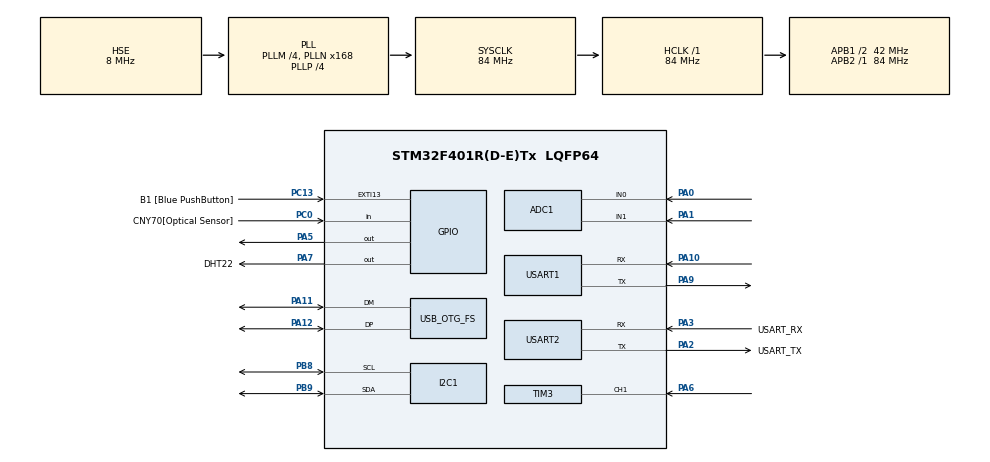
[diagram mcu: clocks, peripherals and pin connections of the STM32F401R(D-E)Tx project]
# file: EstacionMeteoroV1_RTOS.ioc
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ADC1.Channel-0\#ChannelRegularConversion=ADC_CHANNEL_0
ADC1.Channel-1\#ChannelRegularConversion=ADC_CHANNEL_1
ADC1.ClockPrescaler=ADC_CLOCK_SYNC_PCLK_DIV8
ADC1.ContinuousConvMode=ENABLE
ADC1.DMAContinuousRequests=ENABLE
ADC1.EOCSelection=ADC_EOC_SEQ_CONV
ADC1.NbrOfConversion=2
ADC1.NbrOfConversionFlag=1
ADC1.Rank-0\#ChannelRegularConversion=1
ADC1.Rank-1\#ChannelRegularConversion=2
ADC1.SamplingTime-0\#ChannelRegularConversion=ADC_SAMPLETIME_480CYCLES
ADC1.SamplingTime-1\#ChannelRegularConversion=ADC_SAMPLETIME_480CYCLES
ADC1.ScanConvMode=ENABLE
ADC1.master=1
Dma.ADC1.0.Direction=DMA_PERIPH_TO_MEMORY
Dma.ADC1.0.FIFOMode=DMA_FIFOMODE_DISABLE
Dma.ADC1.0.Instance=DMA2_Stream0
Dma.ADC1.0.MemDataAlignment=DMA_MDATAALIGN_WORD
Dma.ADC1.0.MemInc=DMA_MINC_ENABLE
Dma.ADC1.0.Mode=DMA_CIRCULAR
Dma.ADC1.0.PeriphDataAlignment=DMA_PDATAALIGN_WORD
Dma.ADC1.0.PeriphInc=DMA_PINC_DISABLE
Dma.ADC1.0.Priority=DMA_PRIORITY_LOW
Dma.I2C1_RX.1.Direction=DMA_PERIPH_TO_MEMORY
Dma.I2C1_RX.1.FIFOMode=DMA_FIFOMODE_DISABLE
Dma.I2C1_RX.1.Instance=DMA1_Stream0
Dma.I2C1_RX.1.MemDataAlignment=DMA_MDATAALIGN_BYTE
Dma.I2C1_RX.1.MemInc=DMA_MINC_ENABLE
Dma.I2C1_RX.1.Mode=DMA_NORMAL
Dma.I2C1_RX.1.PeriphDataAlignment=DMA_PDATAALIGN_BYTE
Dma.I2C1_RX.1.PeriphInc=DMA_PINC_DISABLE
Dma.I2C1_RX.1.Priority=DMA_PRIORITY_LOW
Dma.I2C1_TX.2.Direction=DMA_MEMORY_TO_PERIPH
Dma.I2C1_TX.2.FIFOMode=DMA_FIFOMODE_DISABLE
Dma.I2C1_TX.2.Instance=DMA1_Stream6
Dma.I2C1_TX.2.MemDataAlignment=DMA_MDATAALIGN_BYTE
Dma.I2C1_TX.2.MemInc=DMA_MINC_ENABLE
Dma.I2C1_TX.2.Mode=DMA_NORMAL
Dma.I2C1_TX.2.PeriphDataAlignment=DMA_PDATAALIGN_BYTE
Dma.I2C1_TX.2.PeriphInc=DMA_PINC_DISABLE
Dma.I2C1_TX.2.Priority=DMA_PRIORITY_LOW
Dma.Request0=ADC1
Dma.Request1=I2C1_RX
Dma.Request2=I2C1_TX
FREERTOS.Tasks01=defaultTask,0,128,StartDefaultTask,Default,NULL,Dynamic,NULL,NULL
FREERTOS.configUSE_NEWLIB_REENTRANT=1
I2C1.I2C_Mode=I2C_Fast
Mcu.Family=STM32F4
Mcu.Name=STM32F401R(D-E)Tx
Mcu.Package=LQFP64
NVIC.DMA1_Stream0_IRQn=true\:5\:0\:false\:false\:true\:true\:false\:true\:true
NVIC.DMA1_Stream6_IRQn=true\:5\:0\:false\:false\:true\:true\:false\:true\:true
NVIC.DMA2_Stream0_IRQn=true\:5\:0\:false\:false\:true\:true\:false\:true\:true
NVIC.I2C1_EV_IRQn=true\:5\:0\:false\:false\:true\:true\:true\:true\:true
NVIC.OTG_FS_IRQn=true\:5\:0\:false\:false\:true\:true\:false\:true\:true
NVIC.PriorityGroup=NVIC_PRIORITYGROUP_4
NVIC.TIM1_UP_TIM10_IRQn=true\:15\:0\:false\:false\:true\:false\:false\:true\:true
NVIC.TIM2_IRQn=true\:5\:0\:false\:false\:true\:true\:true\:true\:true
NVIC.TIM3_IRQn=true\:5\:0\:false\:false\:true\:true\:true\:true\:true
NVIC.TIM4_IRQn=true\:5\:0\:false\:false\:true\:true\:true\:true\:true
NVIC.TimeBase=TIM1_UP_TIM10_IRQn
NVIC.TimeBaseIP=TIM1
NVIC.USART1_IRQn=true\:5\:0\:false\:false\:true\:true\:true\:true\:true
PA0-WKUP.Signal=ADCx_IN0
PA1.Signal=ADCx_IN1
PA10.Mode=Asynchronous
PA10.Signal=USART1_RX
PA11.Mode=Device_Only
PA11.Signal=USB_OTG_FS_DM
PA12.Mode=Device_Only
PA12.Signal=USB_OTG_FS_DP
PA13.GPIO_Label=TMS
PA13.Mode=Serial_Wire
PA13.Signal=SYS_JTMS-SWDIO
PA14.GPIO_Label=TCK
PA14.Mode=Serial_Wire
PA14.Signal=SYS_JTCK-SWCLK
PA2.GPIO_Label=USART_TX
PA2.GPIO_Mode=GPIO_MODE_AF_PP
PA2.GPIO_PuPd=GPIO_NOPULL
PA2.GPIO_Speed=GPIO_SPEED_FREQ_LOW
PA2.Mode=Asynchronous
PA2.Signal=USART2_TX
PA3.GPIO_Label=USART_RX
PA3.GPIO_Mode=GPIO_MODE_AF_PP
PA3.GPIO_PuPd=GPIO_NOPULL
PA3.GPIO_Speed=GPIO_SPEED_FREQ_LOW
PA3.Mode=Asynchronous
PA3.Signal=USART2_RX
PA5.Signal=GPIO_Output
PA6.Signal=S_TIM3_CH1
PA7.GPIO_Label=DHT22
PA7.Signal=GPIO_Output
PA9.Mode=Asynchronous
PA9.Signal=USART1_TX
PB3.GPIO_Label=SWO
PB3.Signal=SYS_JTDO-SWO
PB8.Mode=I2C
PB8.Signal=I2C1_SCL
PB9.Mode=I2C
PB9.Signal=I2C1_SDA
PC0.GPIO_Label=CNY70[Optical Sensor]
PC0.GPIO_PuPd=GPIO_PULLDOWN
PC0.Signal=GPIO_Input
PC13-ANTI_TAMP.GPIO_Label=B1 [Blue PushButton]
PC13-ANTI_TAMP.GPIO_ModeDefaultEXTI=GPIO_MODE_IT_FALLING
PC13-ANTI_TAMP.GPIO_PuPd=GPIO_NOPULL
PC13-ANTI_TAMP.Signal=GPXTI13
PC14-OSC32_IN.Mode=LSE-External-Oscillator
PC14-OSC32_IN.Signal=RCC_OSC32_IN
PC15-OSC32_OUT.Mode=LSE-External-Oscillator
PC15-OSC32_OUT.Signal=RCC_OSC32_OUT
PH0\ -\ OSC_IN.Mode=HSE-External-Clock-Source
PH0\ -\ OSC_IN.Signal=RCC_OSC_IN
PH1\ -\ OSC_OUT.Mode=HSE-External-Clock-Source
PH1\ -\ OSC_OUT.Signal=RCC_OSC_OUT
ProjectManager.HeapSize=0x200
ProjectManager.StackSize=0x400
ProjectManager.TargetToolchain=STM32CubeIDE
RCC.48MHZClocksFreq_Value=48000000
RCC.AHBFreq_Value=84000000
RCC.APB1CLKDivider=RCC_HCLK_DIV2
RCC.APB1Freq_Value=42000000
RCC.APB1TimFreq_Value=84000000
RCC.APB2Freq_Value=84000000
RCC.APB2TimFreq_Value=84000000
RCC.CortexFreq_Value=84000000
RCC.HCLKFreq_Value=84000000
RCC.HSE_VALUE=8000000
RCC.HSI_VALUE=16000000
RCC.PLLM=4
RCC.PLLN=168
RCC.PLLP=RCC_PLLP_DIV4
RCC.PLLQ=7
RCC.SYSCLKFreq_VALUE=84000000
RCC.SYSCLKSource=RCC_SYSCLKSOURCE_PLLCLK
RCC.VCOOutputFreq_Value=336000000
RTC.Alarm=RTC_ALARM_A
SH.ADCx_IN0.0=ADC1_IN0,IN0
SH.ADCx_IN1.0=ADC1_IN1,IN1
SH.S_TIM3_CH1.0=TIM3_CH1,Input_Capture1_from_TI1
TIM2.AutoReloadPreload=TIM_AUTORELOAD_PRELOAD_ENABLE
TIM2.Period=2
TIM2.Prescaler=42000-1
TIM3.AutoReloadPreload=TIM_AUTORELOAD_PRELOAD_ENABLE
TIM3.Channel-Input_Capture1_from_TI1=TIM_CHANNEL_1
TIM3.ICFilter_CH1=15
TIM3.ICPolarity_CH1=TIM_INPUTCHANNELPOLARITY_BOTHEDGE
TIM3.Period=200
TIM3.Prescaler=84-1
TIM4.Period=20
TIM4.Prescaler=83
USART1.VirtualMode=VM_ASYNC
USART2.VirtualMode=VM_ASYNC
USB_DEVICE.CLASS_NAME_FS=CUSTOM_HID
USB_DEVICE.VirtualMode-CUSTOM_HID_FS=CustomHid
USB_DEVICE.VirtualModeFS=Custom_Hid_FS
USB_OTG_FS.VirtualMode=Device_Only
VP_FREERTOS_VS_CMSIS_V1.Mode=CMSIS_V1
VP_RTC_VS_RTC_Activate.Mode=RTC_Enabled
VP_RTC_VS_RTC_Alarm_A_Intern.Mode=Alarm A
VP_RTC_VS_RTC_Calendar.Mode=RTC_Calendar
VP_SYS_VS_tim1.Mode=TIM1
VP_TIM2_VS_ClockSourceINT.Mode=Internal
VP_TIM3_VS_ClockSourceINT.Mode=Internal
VP_TIM4_VS_ClockSourceINT.Mode=Internal
VP_USB_DEVICE_VS_USB_DEVICE_CUSTOM_HID_FS.Mode=CUSTOM_HID_FS
board=NUCLEO-F401RE

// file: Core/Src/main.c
/* USER CODE BEGIN Header */
/**
  ******************************************************************************
  * @file           : main.c
  * @brief          : Main program body
  ******************************************************************************
  * @attention
  *
  * Copyright (c) 2023 STMicroelectronics.
  * All rights reserved.
  *
  * This software is licensed under terms that can be found in the LICENSE file
  * in the root directory of this software component.
  * If no LICENSE file comes with this software, it is provided AS-IS.
  *
  ******************************************************************************
  */
/* USER CODE END Header */
#include "main.h"
#include "cmsis_os.h"
#include "usb_device.h"

/* USER CODE BEGIN PTD */

typedef struct
{
	float Temperature;
	float Pressure;
	float Humidity;
	float Light;
	uint32_t AirQuality;
	float WindSpeed;
}SensedValues;

/* USER CODE END PTD */

/* USER CODE BEGIN PD */
#define CANT_PARAMETROS 6

#define MY_NETWORK "Red Wi-Fi de Eduardo"
#define MY_PASSWORD "ENahum8095"
//#define MY_NETWORK "Samsung"
//#define MY_PASSWORD "12341234"

#define THINGSPEAK_DELAY 20000 //En ms
/* USER CODE END PD */

ADC_HandleTypeDef hadc1;
DMA_HandleTypeDef hdma_adc1;

I2C_HandleTypeDef hi2c1;
DMA_HandleTypeDef hdma_i2c1_rx;
DMA_HandleTypeDef hdma_i2c1_tx;

RTC_HandleTypeDef hrtc;

TIM_HandleTypeDef htim2;
TIM_HandleTypeDef htim3;
TIM_HandleTypeDef htim4;

UART_HandleTypeDef huart1;
UART_HandleTypeDef huart2;

osThreadId defaultTaskHandle;
/* USER CODE BEGIN PV */
uint16_t readValue;

uint8_t screenBuffer[128 * 64 / 8];

uint8_t Flag_Scroll;

uint8_t Flag_Datos;

uint16_t Datos = 3000;

extern uint8_t enableCapture;

extern uint8_t start;

SemaphoreHandle_t SEM_Mediciones;
SemaphoreHandle_t SEM_I2C;

//Estructura que va a guardar todas las mediciones
SensedValues MedicionesEstacion;
float dataToSend[CANT_PARAMETROS];

//Sensor de Temperatura y de Calidad de Aire
uint32_t AnalogSensors[2];
//Almacena la conversion del LM35 y del MQ135

//Sensor Optico
extern uint32_t rpmCNY70;
uint8_t stateCNY70;

//Sensor de Presion
extern uint8_t chipID;
extern int32_t tRaw, pRaw, hRaw;
extern uint8_t RawData[8];
float TemperatureBMP, PressureBMP, HumidityBMP;

//Sensor de Luz
extern uint8_t tmp[2];
float LuzDetectada;

/* USER CODE END PV */

void SystemClock_Config(void);
static void MX_GPIO_Init(void);
static void MX_DMA_Init(void);
static void MX_USART2_UART_Init(void);
static void MX_I2C1_Init(void);
static void MX_TIM2_Init(void);
static void MX_RTC_Init(void);
static void MX_TIM3_Init(void);
static void MX_ADC1_Init(void);
static void MX_TIM4_Init(void);
static void MX_USART1_UART_Init(void);
void StartDefaultTask(void const * argument);

/* USER CODE BEGIN 0 */

void HAL_I2C_MemRxCpltCallback(I2C_HandleTypeDef *hi2c)
{
	BaseType_t CambioContexto= pdFALSE;
	if(hi2c == &hi2c1)
	{
		/* Calculate the Raw data for the parameters
		* Here the Pressure and Temperature are in 20 bit format and humidity in 16 bit format
		*/
		pRaw = (RawData[0]<<12)|(RawData[1]<<4)|(RawData[2]>>4);
		tRaw = (RawData[3]<<12)|(RawData[4]<<4)|(RawData[5]>>4);
		hRaw = (RawData[6]<<8)|(RawData[7]);

		xSemaphoreGiveFromISR(SEM_I2C, pdFALSE);
		portYIELD_FROM_ISR(CambioContexto);
	}
}

void HAL_I2C_MasterRxCpltCallback(I2C_HandleTypeDef *hi2c)
{
	float result;
	BaseType_t CambioContexto= pdFALSE;

	result = (tmp[0] << 8) | (tmp[1]);

	LuzDetectada = result / (float)BH1750_CONVERSION_FACTOR;

	xSemaphoreGiveFromISR(SEM_I2C, pdFALSE);
	portYIELD_FROM_ISR(CambioContexto);
}
/*
void HAL_TIM_IC_CaptureCallback(TIM_HandleTypeDef *htim)
{
	CNY70_FlancosUp();
}*/

void Set_Time(void)
{
	/** Initialize RTC and set the Time and Date
	*/

	RTC_TimeTypeDef sTime = {0};
	RTC_DateTypeDef sDate = {0};

	sTime.Hours = 0x13;
	sTime.Minutes = 0x0F;
	sTime.Seconds = 0x0;
	sTime.DayLightSaving = RTC_DAYLIGHTSAVING_NONE;
	sTime.StoreOperation = RTC_STOREOPERATION_RESET;

	if (HAL_RTC_SetTime(&hrtc, &sTime, RTC_FORMAT_BCD) != HAL_OK)
	{
		Error_Handler();
	}

	sDate.WeekDay = RTC_WEEKDAY_FRIDAY;
	sDate.Month = RTC_MONTH_JANUARY;
	sDate.Date = 0x1A;
	sDate.Year = 0x7E8;

	if (HAL_RTC_SetDate(&hrtc, &sDate, RTC_FORMAT_BCD) != HAL_OK)
	{
		Error_Handler();
	}

	HAL_RTCEx_BKUPWrite(&hrtc, RTC_BKP_DR1, 0x32F2);
}

void Set_Alarm (void)
{

	RTC_AlarmTypeDef sAlarm = {0};

	/** Enable the Alarm A
	*/
	sAlarm.AlarmTime.Hours = 0x0;
	sAlarm.AlarmTime.Minutes = 0x0;
	sAlarm.AlarmTime.Seconds = 0x0;
	sAlarm.AlarmTime.SubSeconds = 0x0;
	sAlarm.AlarmTime.DayLightSaving = RTC_DAYLIGHTSAVING_NONE;
	sAlarm.AlarmTime.StoreOperation = RTC_STOREOPERATION_RESET;
	sAlarm.AlarmMask = RTC_ALARMMASK_NONE;
	sAlarm.AlarmSubSecondMask = RTC_ALARMSUBSECONDMASK_ALL;
	sAlarm.AlarmDateWeekDaySel = RTC_ALARMDATEWEEKDAYSEL_DATE;
	sAlarm.AlarmDateWeekDay = 0x1;
	sAlarm.Alarm = RTC_ALARM_A;

	if (HAL_RTC_SetAlarm(&hrtc, &sAlarm, RTC_FORMAT_BCD) != HAL_OK)
	{
		Error_Handler();
	}
	/* USER CODE BEGIN RTC_Init 2 */

	/* USER CODE END RTC_Init 2 */
}

void scrollUp() {
    for (int page = 0; page < 64 / 8 - 1; ++page) {
        for (int col = 0; col < 128; ++col) {
            screenBuffer[col + page * 128] = screenBuffer[col + (page + 1) * 128];
        }
    }
    // Llena la última página con nuevos datos (ajusta esto según tus necesidades)
    for (int col = 0; col < 128; ++col) {
        screenBuffer[col + (64 / 8 - 1) * 128] = 0xFF;
    }
    ssd1306_UpdateScreen();
}

void Task_Data_Display (void *pvParameters)
{
	//vTaskPrioritySet(Task_ReadSensors, tskIDLE_PRIORITY + 2);

	ssd1306_Init();

	if (HAL_RTCEx_BKUPRead(&hrtc, RTC_BKP_DR1))
	{
	  Set_Time();
	}

	Set_Alarm();

	for (int i = 0; i < 128 * 64 / 8; ++i) {
		 screenBuffer[i] = 0xFF;
	}

	HAL_TIM_Base_Start_IT(&htim2);

	while(1)
	{
		xSemaphoreTake(SEM_I2C, portMAX_DELAY);
		Mostrar_Datos();
		xSemaphoreGive(SEM_I2C);
	}
}

void Task_ReadSensors(void *pvParam)
{
	HAL_TIM_Base_Start_IT(&htim4);
	HAL_ADC_Start_DMA(&hadc1, AnalogSensors, 2);

	//Chequear esto de abajo para que coincida con el IOC
	//HAL_ADC_Start_DMA(&hadc1, &ConversionGasADC, 1);
	//HAL_TIM_IC_Start_IT(&htim2, TIM_CHANNEL_3);
	//HAL_TIM_Base_Start_IT(&htim3);

	while(1)
	{
		xSemaphoreTake(SEM_Mediciones, portMAX_DELAY);
		xSemaphoreGive(SEM_I2C);
		stateCNY70= HAL_GPIO_ReadPin(CNY70_GPIO_Port, CNY70_Pin);
		MedicionesEstacion.Temperature = LM35_Read_Temperature(AnalogSensors[0]);
		MedicionesEstacion.Pressure = PressureBMP/100; //Convierte de Pa a hPa
		DHT22_Read_Humidity(&MedicionesEstacion.Humidity);
		MedicionesEstacion.Light= LuzDetectada;
		MedicionesEstacion.AirQuality= MQ135_NivelContaminacion(AnalogSensors[1]);
		MedicionesEstacion.WindSpeed= CNY70_MedicionVelocidad(rpmCNY70);

		xSemaphoreGive(SEM_Mediciones);
		vTaskDelay(pdMS_TO_TICKS(1000));
	}
}

void Task_ReadLight(void *pvParam)
{
	while(1)
	{
		//Este semaforo toma el comando del I2C para que no haya interferencia con el
		//sensor de presion. Luego es liberado en la callback
		xSemaphoreTake(SEM_I2C, portMAX_DELAY);
		BH1750_ReadLight(&MedicionesEstacion.Light);
	}
}

void Task_ReadPressure(void *pvParam)
{
	while(1)
	{
		//Este semaforo funciona al igual que en el sensor de luz
		xSemaphoreTake(SEM_I2C, portMAX_DELAY);
		BME280_Measure();
	}
}

void Task_SendDataToThingspeak(void *pvParam)
{
	//Esta tarea debe ejecutarse cada 15segs como maximo
	vTaskDelay(pdMS_TO_TICKS(5000)); //Evito que entre primero esta tarea

	while(1)
	{
		xSemaphoreTake(SEM_Mediciones, portMAX_DELAY);
		dataToSend[0]= round(MedicionesEstacion.Temperature * 100)/100;
		dataToSend[1]= round(MedicionesEstacion.Humidity * 100)/100;
		dataToSend[2]= round(MedicionesEstacion.Pressure * 100)/100;
		dataToSend[3]= round(MedicionesEstacion.WindSpeed * 100)/100;
		dataToSend[4]= round(MedicionesEstacion.Light * 100)/100;
		dataToSend[5]= round(MedicionesEstacion.AirQuality * 100)/100;

		xSemaphoreGive(SEM_Mediciones);
		ESP_Send_Multi("GZ88XIL7XS30EM51", CANT_PARAMETROS, dataToSend);

		vTaskDelay(pdMS_TO_TICKS(THINGSPEAK_DELAY));
	}
}

/* USER CODE END 0 */

int main(void)
{

  /* MCU Configuration--------------------------------------------------------*/

  /* Reset of all peripherals, Initializes the Flash interface and the Systick. */
  HAL_Init();

  /* Configure the system clock */
  SystemClock_Config();

  /* Initialize all configured peripherals */
  MX_GPIO_Init();
  MX_DMA_Init();
  MX_USART2_UART_Init();
  MX_I2C1_Init();
  MX_TIM2_Init();
  MX_RTC_Init();
  MX_TIM3_Init();
  MX_ADC1_Init();
  MX_TIM4_Init();
  MX_USART1_UART_Init();
  /* USER CODE BEGIN 2 */

  //Inicializacion BH1750 - Sensor de Luz
  BH1750_Init(&hi2c1);
  BH1750_SetMode(CONTINUOUS_HIGH_RES_MODE);

  //Inicializacion BMP280 - Sensor de Presion
  BME280_Config(OSRS_1, OSRS_4, OSRS_1, MODE_NORMAL, T_SB_0p5, IIR_16);

  //PantallaInicialDisplay();

  //Inicializacion ESP01 - Modulo WiFi
  ESP_Init(MY_NETWORK, MY_PASSWORD);

  /* USER CODE END 2 */

  /* USER CODE BEGIN RTOS_SEMAPHORES */
  /* add semaphores, ... */

  SEM_Mediciones= xSemaphoreCreateBinary();
  SEM_I2C= xSemaphoreCreateBinary();

  xSemaphoreTake(SEM_Mediciones, 0);
  xSemaphoreGive(SEM_Mediciones);

  xSemaphoreTake(SEM_I2C, 0);
  xSemaphoreGive(SEM_I2C);

  /* USER CODE END RTOS_SEMAPHORES */

  /* Create the thread(s) */
  /* definition and creation of defaultTask */
  osThreadDef(defaultTask, StartDefaultTask, osPriorityNormal, 0, 128);
  defaultTaskHandle = osThreadCreate(osThread(defaultTask), NULL);

  /* USER CODE BEGIN RTOS_THREADS */

  xTaskCreate(Task_Data_Display, "Data_Display", configMINIMAL_STACK_SIZE * 4, NULL, tskIDLE_PRIORITY + 1, NULL);

  xTaskCreate(Task_ReadSensors, "ReadSensors", configMINIMAL_STACK_SIZE * 2, NULL, tskIDLE_PRIORITY + 1, NULL);
  xTaskCreate(Task_ReadLight, "ReadLight", configMINIMAL_STACK_SIZE * 4, NULL, tskIDLE_PRIORITY + 1, NULL);
  xTaskCreate(Task_ReadPressure, "ReadPressure", configMINIMAL_STACK_SIZE * 4, NULL, tskIDLE_PRIORITY + 1, NULL);

  xTaskCreate(Task_SendDataToThingspeak, "SendDataToThingspeak", configMINIMAL_STACK_SIZE * 5, NULL, tskIDLE_PRIORITY + 2, NULL);

  vTaskStartScheduler();

  /* USER CODE END RTOS_THREADS */

  /* Start scheduler */
  osKernelStart();

  /* We should never get here as control is now taken by the scheduler */
  /* Infinite loop */
  while (1)
  {

  }
}

void SystemClock_Config(void)
{
  RCC_OscInitTypeDef RCC_OscInitStruct = {0};
  RCC_ClkInitTypeDef RCC_ClkInitStruct = {0};

  /** Configure the main internal regulator output voltage
  */
  __HAL_RCC_PWR_CLK_ENABLE();
  __HAL_PWR_VOLTAGESCALING_CONFIG(PWR_REGULATOR_VOLTAGE_SCALE2);

  /** Initializes the RCC Oscillators according to the specified parameters
  * in the RCC_OscInitTypeDef structure.
  */
  RCC_OscInitStruct.OscillatorType = RCC_OSCILLATORTYPE_LSI|RCC_OSCILLATORTYPE_HSE;
  RCC_OscInitStruct.HSEState = RCC_HSE_BYPASS;
  RCC_OscInitStruct.LSIState = RCC_LSI_ON;
  RCC_OscInitStruct.PLL.PLLState = RCC_PLL_ON;
  RCC_OscInitStruct.PLL.PLLSource = RCC_PLLSOURCE_HSE;
  RCC_OscInitStruct.PLL.PLLM = 4;
  RCC_OscInitStruct.PLL.PLLN = 168;
  RCC_OscInitStruct.PLL.PLLP = RCC_PLLP_DIV4;
  RCC_OscInitStruct.PLL.PLLQ = 7;
  if (HAL_RCC_OscConfig(&RCC_OscInitStruct) != HAL_OK)
  {
    Error_Handler();
  }

  /** Initializes the CPU, AHB and APB buses clocks
  */
  RCC_ClkInitStruct.ClockType = RCC_CLOCKTYPE_HCLK|RCC_CLOCKTYPE_SYSCLK
                              |RCC_CLOCKTYPE_PCLK1|RCC_CLOCKTYPE_PCLK2;
  RCC_ClkInitStruct.SYSCLKSource = RCC_SYSCLKSOURCE_PLLCLK;
  RCC_ClkInitStruct.AHBCLKDivider = RCC_SYSCLK_DIV1;
  RCC_ClkInitStruct.APB1CLKDivider = RCC_HCLK_DIV2;
  RCC_ClkInitStruct.APB2CLKDivider = RCC_HCLK_DIV1;

  if (HAL_RCC_ClockConfig(&RCC_ClkInitStruct, FLASH_LATENCY_2) != HAL_OK)
  {
    Error_Handler();
  }
}

static void MX_ADC1_Init(void)
{

  ADC_ChannelConfTypeDef sConfig = {0};

  /** Configure the global features of the ADC (Clock, Resolution, Data Alignment and number of conversion)
  */
  hadc1.Instance = ADC1;
  hadc1.Init.ClockPrescaler = ADC_CLOCK_SYNC_PCLK_DIV8;
  hadc1.Init.Resolution = ADC_RESOLUTION_12B;
  hadc1.Init.ScanConvMode = ENABLE;
  hadc1.Init.ContinuousConvMode = ENABLE;
  hadc1.Init.DiscontinuousConvMode = DISABLE;
  hadc1.Init.ExternalTrigConvEdge = ADC_EXTERNALTRIGCONVEDGE_NONE;
  hadc1.Init.ExternalTrigConv = ADC_SOFTWARE_START;
  hadc1.Init.DataAlign = ADC_DATAALIGN_RIGHT;
  hadc1.Init.NbrOfConversion = 2;
  hadc1.Init.DMAContinuousRequests = ENABLE;
  hadc1.Init.EOCSelection = ADC_EOC_SEQ_CONV;
  if (HAL_ADC_Init(&hadc1) != HAL_OK)
  {
    Error_Handler();
  }

  /** Configure for the selected ADC regular channel its corresponding rank in the sequencer and its sample time.
  */
  sConfig.Channel = ADC_CHANNEL_0;
  sConfig.Rank = 1;
  sConfig.SamplingTime = ADC_SAMPLETIME_480CYCLES;
  if (HAL_ADC_ConfigChannel(&hadc1, &sConfig) != HAL_OK)
  {
    Error_Handler();
  }

  /** Configure for the selected ADC regular channel its corresponding rank in the sequencer and its sample time.
  */
  sConfig.Channel = ADC_CHANNEL_1;
  sConfig.Rank = 2;
  if (HAL_ADC_ConfigChannel(&hadc1, &sConfig) != HAL_OK)
  {
    Error_Handler();
  }

}

static void MX_I2C1_Init(void)
{

  hi2c1.Instance = I2C1;
  hi2c1.Init.ClockSpeed = 400000;
  hi2c1.Init.DutyCycle = I2C_DUTYCYCLE_2;
  hi2c1.Init.OwnAddress1 = 0;
  hi2c1.Init.AddressingMode = I2C_ADDRESSINGMODE_7BIT;
  hi2c1.Init.DualAddressMode = I2C_DUALADDRESS_DISABLE;
  hi2c1.Init.OwnAddress2 = 0;
  hi2c1.Init.GeneralCallMode = I2C_GENERALCALL_DISABLE;
  hi2c1.Init.NoStretchMode = I2C_NOSTRETCH_DISABLE;
  if (HAL_I2C_Init(&hi2c1) != HAL_OK)
  {
    Error_Handler();
  }

}

static void MX_RTC_Init(void)
{

  RTC_TimeTypeDef sTime = {0};
  RTC_DateTypeDef sDate = {0};
  RTC_AlarmTypeDef sAlarm = {0};

  /** Initialize RTC Only
  */
  hrtc.Instance = RTC;
  hrtc.Init.HourFormat = RTC_HOURFORMAT_24;
  hrtc.Init.AsynchPrediv = 127;
  hrtc.Init.SynchPrediv = 255;
  hrtc.Init.OutPut = RTC_OUTPUT_DISABLE;
  hrtc.Init.OutPutPolarity = RTC_OUTPUT_POLARITY_HIGH;
  hrtc.Init.OutPutType = RTC_OUTPUT_TYPE_OPENDRAIN;
  if (HAL_RTC_Init(&hrtc) != HAL_OK)
  {
    Error_Handler();
  }

  /** Initialize RTC and set the Time and Date
  */
  sTime.Hours = 0x0;
  sTime.Minutes = 0x0;
  sTime.Seconds = 0x0;
  sTime.DayLightSaving = RTC_DAYLIGHTSAVING_NONE;
  sTime.StoreOperation = RTC_STOREOPERATION_RESET;
  if (HAL_RTC_SetTime(&hrtc, &sTime, RTC_FORMAT_BCD) != HAL_OK)
  {
    Error_Handler();
  }
  sDate.WeekDay = RTC_WEEKDAY_MONDAY;
  sDate.Month = RTC_MONTH_JANUARY;
  sDate.Date = 0x1;
  sDate.Year = 0x0;

  if (HAL_RTC_SetDate(&hrtc, &sDate, RTC_FORMAT_BCD) != HAL_OK)
  {
    Error_Handler();
  }

  /** Enable the Alarm A
  */
  sAlarm.AlarmTime.Hours = 0x0;
  sAlarm.AlarmTime.Minutes = 0x0;
  sAlarm.AlarmTime.Seconds = 0x0;
  sAlarm.AlarmTime.SubSeconds = 0x0;
  sAlarm.AlarmTime.DayLightSaving = RTC_DAYLIGHTSAVING_NONE;
  sAlarm.AlarmTime.StoreOperation = RTC_STOREOPERATION_RESET;
  sAlarm.AlarmMask = RTC_ALARMMASK_NONE;
  sAlarm.AlarmSubSecondMask = RTC_ALARMSUBSECONDMASK_ALL;
  sAlarm.AlarmDateWeekDaySel = RTC_ALARMDATEWEEKDAYSEL_DATE;
  sAlarm.AlarmDateWeekDay = 0x1;
  sAlarm.Alarm = RTC_ALARM_A;
  if (HAL_RTC_SetAlarm(&hrtc, &sAlarm, RTC_FORMAT_BCD) != HAL_OK)
  {
    Error_Handler();
  }

}

static void MX_TIM2_Init(void)
{

  TIM_ClockConfigTypeDef sClockSourceConfig = {0};
  TIM_MasterConfigTypeDef sMasterConfig = {0};

  htim2.Instance = TIM2;
  htim2.Init.Prescaler = 42000-1;
  htim2.Init.CounterMode = TIM_COUNTERMODE_UP;
  htim2.Init.Period = 2;
  htim2.Init.ClockDivision = TIM_CLOCKDIVISION_DIV1;
  htim2.Init.AutoReloadPreload = TIM_AUTORELOAD_PRELOAD_ENABLE;
  if (HAL_TIM_Base_Init(&htim2) != HAL_OK)
  {
    Error_Handler();
  }
  sClockSourceConfig.ClockSource = TIM_CLOCKSOURCE_INTERNAL;
  if (HAL_TIM_ConfigClockSource(&htim2, &sClockSourceConfig) != HAL_OK)
  {
    Error_Handler();
  }
  sMasterConfig.MasterOutputTrigger = TIM_TRGO_RESET;
  sMasterConfig.MasterSlaveMode = TIM_MASTERSLAVEMODE_DISABLE;
  if (HAL_TIMEx_MasterConfigSynchronization(&htim2, &sMasterConfig) != HAL_OK)
  {
    Error_Handler();
  }

}

static void MX_TIM3_Init(void)
{

  TIM_ClockConfigTypeDef sClockSourceConfig = {0};
  TIM_MasterConfigTypeDef sMasterConfig = {0};
  TIM_IC_InitTypeDef sConfigIC = {0};

  htim3.Instance = TIM3;
  htim3.Init.Prescaler = 84-1;
  htim3.Init.CounterMode = TIM_COUNTERMODE_UP;
  htim3.Init.Period = 200;
  htim3.Init.ClockDivision = TIM_CLOCKDIVISION_DIV1;
  htim3.Init.AutoReloadPreload = TIM_AUTORELOAD_PRELOAD_ENABLE;
  if (HAL_TIM_Base_Init(&htim3) != HAL_OK)
  {
    Error_Handler();
  }
  sClockSourceConfig.ClockSource = TIM_CLOCKSOURCE_INTERNAL;
  if (HAL_TIM_ConfigClockSource(&htim3, &sClockSourceConfig) != HAL_OK)
  {
    Error_Handler();
  }
  if (HAL_TIM_IC_Init(&htim3) != HAL_OK)
  {
    Error_Handler();
  }
  sMasterConfig.MasterOutputTrigger = TIM_TRGO_RESET;
  sMasterConfig.MasterSlaveMode = TIM_MASTERSLAVEMODE_DISABLE;
  if (HAL_TIMEx_MasterConfigSynchronization(&htim3, &sMasterConfig) != HAL_OK)
  {
    Error_Handler();
  }
  sConfigIC.ICPolarity = TIM_INPUTCHANNELPOLARITY_BOTHEDGE;
  sConfigIC.ICSelection = TIM_ICSELECTION_DIRECTTI;
  sConfigIC.ICPrescaler = TIM_ICPSC_DIV1;
  sConfigIC.ICFilter = 15;
  if (HAL_TIM_IC_ConfigChannel(&htim3, &sConfigIC, TIM_CHANNEL_1) != HAL_OK)
  {
    Error_Handler();
  }

}

static void MX_TIM4_Init(void)
{

  TIM_ClockConfigTypeDef sClockSourceConfig = {0};
  TIM_MasterConfigTypeDef sMasterConfig = {0};

  htim4.Instance = TIM4;
  htim4.Init.Prescaler = 83;
  htim4.Init.CounterMode = TIM_COUNTERMODE_UP;
  htim4.Init.Period = 20;
  htim4.Init.ClockDivision = TIM_CLOCKDIVISION_DIV1;
  htim4.Init.AutoReloadPreload = TIM_AUTORELOAD_PRELOAD_DISABLE;
  if (HAL_TIM_Base_Init(&htim4) != HAL_OK)
  {
    Error_Handler();
  }
  sClockSourceConfig.ClockSource = TIM_CLOCKSOURCE_INTERNAL;
  if (HAL_TIM_ConfigClockSource(&htim4, &sClockSourceConfig) != HAL_OK)
  {
    Error_Handler();
  }
  sMasterConfig.MasterOutputTrigger = TIM_TRGO_RESET;
  sMasterConfig.MasterSlaveMode = TIM_MASTERSLAVEMODE_DISABLE;
  if (HAL_TIMEx_MasterConfigSynchronization(&htim4, &sMasterConfig) != HAL_OK)
  {
    Error_Handler();
  }

}

static void MX_USART1_UART_Init(void)
{

  huart1.Instance = USART1;
  huart1.Init.BaudRate = 115200;
  huart1.Init.WordLength = UART_WORDLENGTH_8B;
  huart1.Init.StopBits = UART_STOPBITS_1;
  huart1.Init.Parity = UART_PARITY_NONE;
  huart1.Init.Mode = UART_MODE_TX_RX;
  huart1.Init.HwFlowCtl = UART_HWCONTROL_NONE;
  huart1.Init.OverSampling = UART_OVERSAMPLING_16;
  if (HAL_UART_Init(&huart1) != HAL_OK)
  {
    Error_Handler();
  }

}

static void MX_USART2_UART_Init(void)
{

  huart2.Instance = USART2;
  huart2.Init.BaudRate = 115200;
  huart2.Init.WordLength = UART_WORDLENGTH_8B;
  huart2.Init.StopBits = UART_STOPBITS_1;
  huart2.Init.Parity = UART_PARITY_NONE;
  huart2.Init.Mode = UART_MODE_TX_RX;
  huart2.Init.HwFlowCtl = UART_HWCONTROL_NONE;
  huart2.Init.OverSampling = UART_OVERSAMPLING_16;
  if (HAL_UART_Init(&huart2) != HAL_OK)
  {
    Error_Handler();
  }

}

static void MX_DMA_Init(void)
{

  /* DMA controller clock enable */
  __HAL_RCC_DMA2_CLK_ENABLE();
  __HAL_RCC_DMA1_CLK_ENABLE();

  /* DMA interrupt init */
  /* DMA1_Stream0_IRQn interrupt configuration */
  HAL_NVIC_SetPriority(DMA1_Stream0_IRQn, 5, 0);
  HAL_NVIC_EnableIRQ(DMA1_Stream0_IRQn);
  /* DMA1_Stream6_IRQn interrupt configuration */
  HAL_NVIC_SetPriority(DMA1_Stream6_IRQn, 5, 0);
  HAL_NVIC_EnableIRQ(DMA1_Stream6_IRQn);
  /* DMA2_Stream0_IRQn interrupt configuration */
  HAL_NVIC_SetPriority(DMA2_Stream0_IRQn, 5, 0);
  HAL_NVIC_EnableIRQ(DMA2_Stream0_IRQn);

}

static void MX_GPIO_Init(void)
{
  GPIO_InitTypeDef GPIO_InitStruct = {0};

  /* GPIO Ports Clock Enable */
  __HAL_RCC_GPIOC_CLK_ENABLE();
  __HAL_RCC_GPIOH_CLK_ENABLE();
  __HAL_RCC_GPIOA_CLK_ENABLE();
  __HAL_RCC_GPIOB_CLK_ENABLE();

  /*Configure GPIO pin Output Level */
  HAL_GPIO_WritePin(GPIOA, GPIO_PIN_5|DHT22_Pin, GPIO_PIN_RESET);

  /*Configure GPIO pin : B1_Pin */
  GPIO_InitStruct.Pin = B1_Pin;
  GPIO_InitStruct.Mode = GPIO_MODE_IT_FALLING;
  GPIO_InitStruct.Pull = GPIO_NOPULL;
  HAL_GPIO_Init(B1_GPIO_Port, &GPIO_InitStruct);

  /*Configure GPIO pin : CNY70_Pin */
  GPIO_InitStruct.Pin = CNY70_Pin;
  GPIO_InitStruct.Mode = GPIO_MODE_INPUT;
  GPIO_InitStruct.Pull = GPIO_PULLDOWN;
  HAL_GPIO_Init(CNY70_GPIO_Port, &GPIO_InitStruct);

  /*Configure GPIO pins : PA5 DHT22_Pin */
  GPIO_InitStruct.Pin = GPIO_PIN_5|DHT22_Pin;
  GPIO_InitStruct.Mode = GPIO_MODE_OUTPUT_PP;
  GPIO_InitStruct.Pull = GPIO_NOPULL;
  GPIO_InitStruct.Speed = GPIO_SPEED_FREQ_LOW;
  HAL_GPIO_Init(GPIOA, &GPIO_InitStruct);

}

void StartDefaultTask(void const * argument)
{
  /* init code for USB_DEVICE */
  MX_USB_DEVICE_Init();
  for(;;)
  {
    osDelay(1);
  }
}

void HAL_TIM_PeriodElapsedCallback(TIM_HandleTypeDef *htim)
{
  if (htim->Instance == TIM1) {
    HAL_IncTick();
  }
  /* USER CODE BEGIN Callback 1 */

  if (htim->Instance == TIM2)
  {
	static uint8_t Scroll = 20;

	Scroll--;
	if(!Scroll)
	{
		Flag_Scroll = 1;
		Scroll = 1;
	}

	Datos--;
	if(!Datos)
	{
		Flag_Datos = 1;
	}
  }

  static uint32_t contador_20us = 0, contador_2000us = 0;

  	if(htim->Instance == TIM4)
  	{
  		if(start == 1)
  		{
  			contador_20us++;
  		}

  		if(contador_20us >= 1)
  		{
  			Set_Pin_Input(DHT22_GPIO_Port, DHT22_Pin);
  			contador_20us = 0;

  			start = 0;

  			enableCapture = 1;
  			HAL_TIM_IC_Start_IT(&htim3, TIM_CHANNEL_1);
  			HAL_TIM_Base_Stop_IT(&htim4);
  		}

  		if(!start)
  		{
  			//Set_Pin_Output(DHT22_GPIO_Port, DHT22_Pin);
  			HAL_GPIO_WritePin (DHT22_GPIO_Port, DHT22_Pin, 0);   // pull the pin low
  			contador_2000us++;
  		}

  		if(contador_2000us >= 100)
  		{
  			HAL_GPIO_WritePin (DHT22_GPIO_Port, DHT22_Pin, 1);   // pull the pin high

  			contador_2000us = 0;

  			start = 1;
  		}
  	}

  /* USER CODE END Callback 1 */
}

void Error_Handler(void)
{
  __disable_irq();
  while (1)
  {
  }
}
